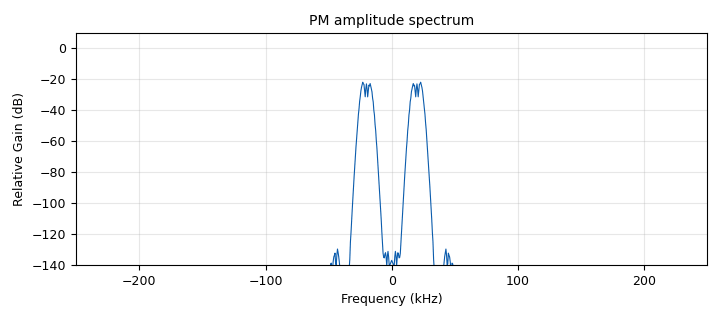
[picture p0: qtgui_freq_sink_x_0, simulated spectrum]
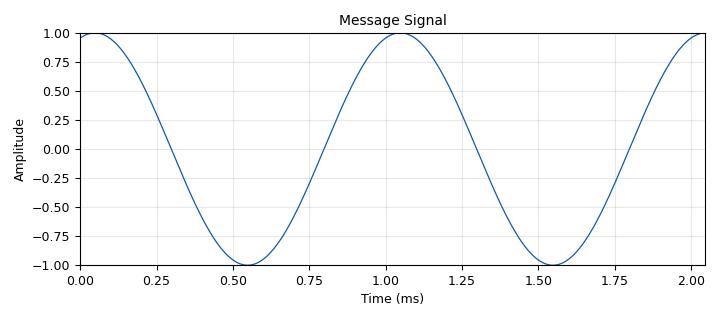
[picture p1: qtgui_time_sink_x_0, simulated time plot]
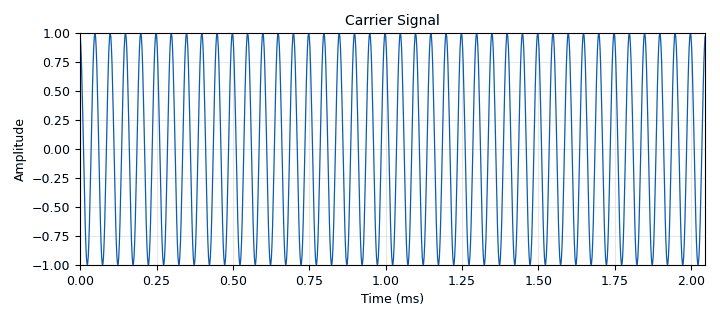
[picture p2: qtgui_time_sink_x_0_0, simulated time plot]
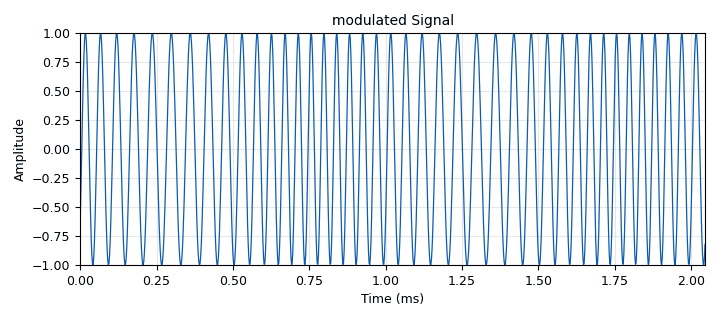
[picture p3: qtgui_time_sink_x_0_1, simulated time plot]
options:
  parameters:
    generate_options: qt_gui
    id: pm_modulator
    output_language: python
    title: Not titled yet
  states: {}

blocks:
- name: f_car
  id: variable
  parameters:
    value: '20000'
  states: {}
- name: f_msg
  id: variable
  parameters:
    value: '1000'
  states: {}
- name: kp
  id: variable
  parameters:
    value: '4.0'
  states: {}
- name: samp_rate
  id: variable
  parameters:
    value: '500000'
  states: {}
- name: analog_phase_modulator_fc_0
  id: analog_phase_modulator_fc
  parameters:
    sensitivity: kp
  states: {}
- name: analog_sig_source_x_0
  id: analog_sig_source_x
  parameters:
    amp: '1.0'
    freq: f_msg
    offset: '0'
    phase: '0'
    samp_rate: samp_rate
    type: float
    waveform: analog.GR_COS_WAVE
  states: {}
- name: analog_sig_source_x_1_0
  id: analog_sig_source_x
  parameters:
    amp: '1.0'
    freq: f_car
    offset: '0'
    phase: '0'
    samp_rate: samp_rate
    type: float
    waveform: analog.GR_COS_WAVE
  states: {}
- name: analog_sig_source_x_1_0_0
  id: analog_sig_source_x
  parameters:
    amp: '1.0'
    freq: f_car
    offset: '0'
    phase: '0'
    samp_rate: samp_rate
    type: complex
    waveform: analog.GR_COS_WAVE
  states: {}
- name: blocks_complex_to_real_0
  id: blocks_complex_to_real
  parameters: {}
  states: {}
- name: blocks_file_sink_0
  id: blocks_file_sink
  parameters:
    file: /home/mohnc/Downloads/P_comm Assignment/PM/modulation/pm_modulator.dat
    type: complex
  states: {}
- name: blocks_multiply_xx_0
  id: blocks_multiply_xx
  parameters:
    type: complex
  states: {}
- name: qtgui_freq_sink_x_0
  id: qtgui_freq_sink_x
  parameters:
    bw: samp_rate
    fc: '0'
    fftsize: '1024'
    name: '"PM amplitude spectrum"'
    type: float
  states: {}
- name: qtgui_time_sink_x_0
  id: qtgui_time_sink_x
  parameters:
    name: '"Message Signal"'
    size: '1024'
    srate: samp_rate
    type: float
  states: {}
- name: qtgui_time_sink_x_0_0
  id: qtgui_time_sink_x
  parameters:
    name: '"Carrier Signal"'
    size: '1024'
    srate: samp_rate
    type: float
  states: {}
- name: qtgui_time_sink_x_0_1
  id: qtgui_time_sink_x
  parameters:
    name: '"modulated Signal"'
    size: '1024'
    srate: samp_rate
    type: float
  states: {}

connections:
- [analog_phase_modulator_fc_0, '0', blocks_multiply_xx_0, '0']
- [analog_sig_source_x_0, '0', analog_phase_modulator_fc_0, '0']
- [analog_sig_source_x_0, '0', qtgui_time_sink_x_0, '0']
- [analog_sig_source_x_1_0, '0', qtgui_time_sink_x_0_0, '0']
- [analog_sig_source_x_1_0_0, '0', blocks_multiply_xx_0, '1']
- [blocks_complex_to_real_0, '0', qtgui_freq_sink_x_0, '0']
- [blocks_complex_to_real_0, '0', qtgui_time_sink_x_0_1, '0']
- [blocks_multiply_xx_0, '0', blocks_complex_to_real_0, '0']
- [blocks_multiply_xx_0, '0', blocks_file_sink_0, '0']

metadata:
  file_format: 1
  grc_version: 3.10.9.2
